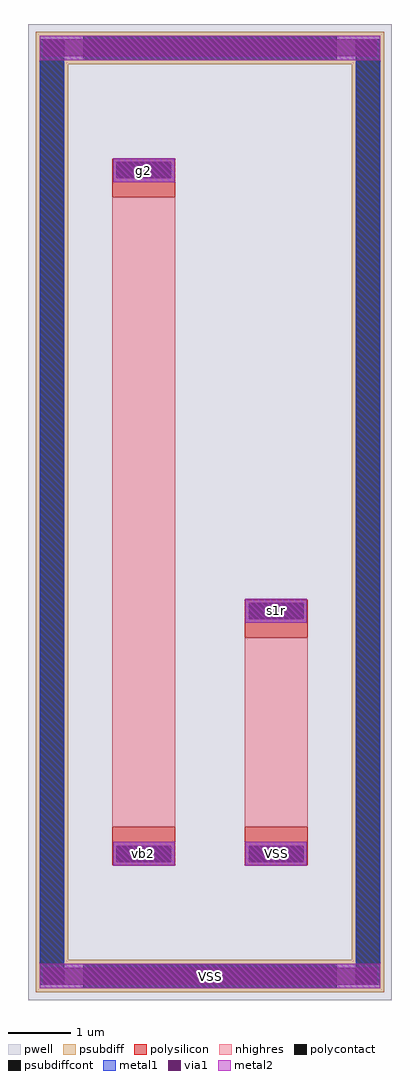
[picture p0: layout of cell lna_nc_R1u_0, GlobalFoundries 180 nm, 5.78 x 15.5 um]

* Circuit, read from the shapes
.subckt lna_nc_R1u_0 vb2 g2 VSS s1r
XR1 g2 vb2 VSS ppolyf_u_1k r_width=1u r_length=10u
XR2 s1r VSS VSS ppolyf_u_1k r_width=1u r_length=3u
.ends

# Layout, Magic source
magic
tech gf180mcuD
magscale 1 10
<< pwell >>
rect -368 -464 788 2636
<< psubdiff >>
rect -344 -440 764 -336
rect -344 2508 764 2612
rect -344 -336 -240 2508
rect 660 -336 764 2508
<< polysilicon >>
rect -100 2086 100 2208
rect -100 -36 100 86
rect 320 686 520 808
rect 320 -36 520 86
<< nhighres >>
rect -100 86 100 2086
rect 320 86 520 686
<< psubdiffcont >>
rect -331 -416 -253 2588
rect 673 -416 751 2588
rect -193 2521 613 2599
rect -193 -427 613 -349
<< polycontact >>
rect -87 2149 87 2195
rect -87 -23 87 23
rect 333 749 507 795
rect 333 -23 507 23
<< metal1 >>
rect -98 2149 98 2195
rect -98 -23 98 23
rect 322 749 518 795
rect 322 -23 518 23
rect -98 -38 98 38
rect -98 2134 98 2210
rect 322 -38 518 38
rect 322 734 518 810
rect -331 -427 751 -349
rect -331 2521 751 2599
rect -331 -427 -253 2599
rect 673 -427 751 2599
rect -331 -427 751 -349
rect -331 2521 751 2599
<< metal2 >>
rect -98 -38 98 38
rect -98 2134 98 2210
rect 322 -38 518 38
rect 322 734 518 810
rect -331 -427 751 -349
rect -331 2521 751 2599
<< via1 >>
rect -86 -26 86 26
rect -86 2146 86 2198
rect 334 -26 506 26
rect 334 746 506 798
rect -319 -415 739 -361
rect -319 2533 739 2587
<< labels >>
flabel metal2 s -98 -38 98 38 0 FreeSans 80 0 0 0 vb2
port 1 nsew signal bidirectional
flabel metal2 s -98 2134 98 2210 0 FreeSans 80 0 0 0 g2
port 2 nsew signal bidirectional
flabel metal2 s 322 -38 518 38 0 FreeSans 80 0 0 0 VSS
port 3 nsew signal bidirectional
flabel metal2 s 322 734 518 810 0 FreeSans 80 0 0 0 s1r
port 4 nsew signal bidirectional
flabel metal2 s -331 -427 751 -349 0 FreeSans 80 0 0 0 VSS
port 3 nsew signal bidirectional
<< end >>
